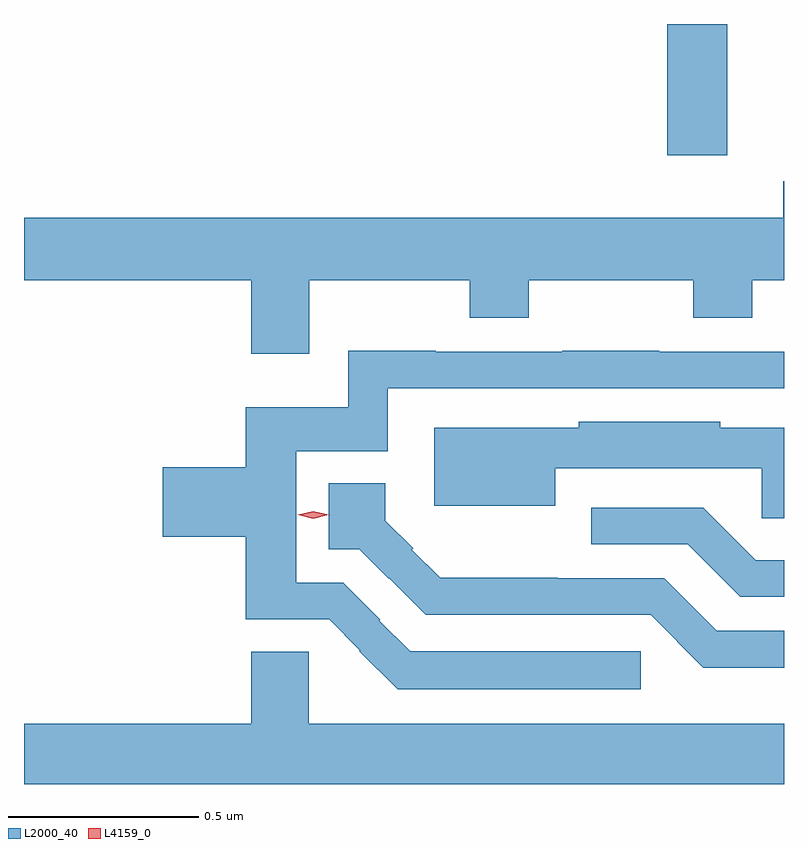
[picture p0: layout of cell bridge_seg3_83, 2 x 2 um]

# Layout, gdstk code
import gdstk
lib = gdstk.Library(unit=1e-6, precision=1e-09)
def R(c, l, rs):  # rectangles x0, y0, x1, y1
    for r in rs: c.add(gdstk.rectangle(r[:2], r[2:], *l))
def P(c, l, *ps):  # polygons
    for p in ps: c.add(gdstk.Polygon(p, *l))
L2000_40 = (2000, 40)
L4159_0 = (4159, 0)

bridge_seg3_83 = lib.new_cell('bridge_seg3_83')
R(bridge_seg3_83, L2000_40, [(432.638,695.916,432.796,696.262)])
P(bridge_seg3_83, L2000_40, [(431.695,695.588),(432.118,695.588),(432.118,695.489),(432.273,695.489),(432.273,695.588),(432.706,695.588),(432.706,695.489),(432.861,695.489),(432.861,695.588),(432.945,695.588),(432.945,695.848),(432.943,695.848),(432.943,695.752),(430.945,695.752),(430.945,695.588),(431.543,695.588),(431.543,695.394),(431.695,695.394)],
  [(432.568,694.611),(432.455,694.611),(432.455,694.612),(432.064,694.612),(432.064,694.611),(431.961,694.611),(431.88,694.692),(431.882,694.694),(431.785,694.791),(431.662,694.791),(431.662,695.138),(431.902,695.138),(431.902,695.304),(432.945,695.304),(432.945,695.4),(432.617,695.4),(432.617,695.402),(432.361,695.402),(432.361,695.4),(432.029,695.4),(432.029,695.402),(431.798,695.402),(431.798,695.254),(431.528,695.254),(431.528,695.096),(431.31,695.096),(431.31,694.913),(431.528,694.913),(431.528,694.695),(431.748,694.695),(431.829,694.614),(431.827,694.612),(431.928,694.511),(432.568,694.511)],
  [(432.945,695.2),(432.777,695.2),(432.777,695.215),(432.405,695.215),(432.405,695.2),(432.024,695.2),(432.024,694.994),(432.343,694.994),(432.343,695.093),(432.886,695.093),(432.886,694.962),(432.945,694.962)],
  [(432.945,694.665),(432.768,694.665),(432.63,694.803),(432.35,694.803),(432.35,694.805),(432.041,694.805),(431.966,694.879),(431.969,694.882),(431.896,694.955),(431.896,695.053),(431.747,695.053),(431.747,694.88),(431.827,694.88),(431.905,694.802),(431.906,694.803),(432.002,694.707),(432.594,694.707),(432.733,694.568),(432.945,694.568)],
  [(432.945,694.851),(432.87,694.851),(432.732,694.989),(432.438,694.989),(432.438,694.893),(432.692,694.893),(432.83,694.755),(432.945,694.755)],
  [(432.945,694.42),(431.694,694.42),(431.694,694.61),(431.543,694.61),(431.543,694.42),(430.945,694.42),(430.945,694.262),(432.945,694.262)])
P(bridge_seg3_83, L4159_0, [(431.706,694.96),(431.665,694.97),(431.665,694.97),(431.665,694.971),(431.706,694.98),(431.747,694.97),(431.747,694.97),(431.747,694.97)])

lib.write_gds('bridge_seg3_83.gds')
